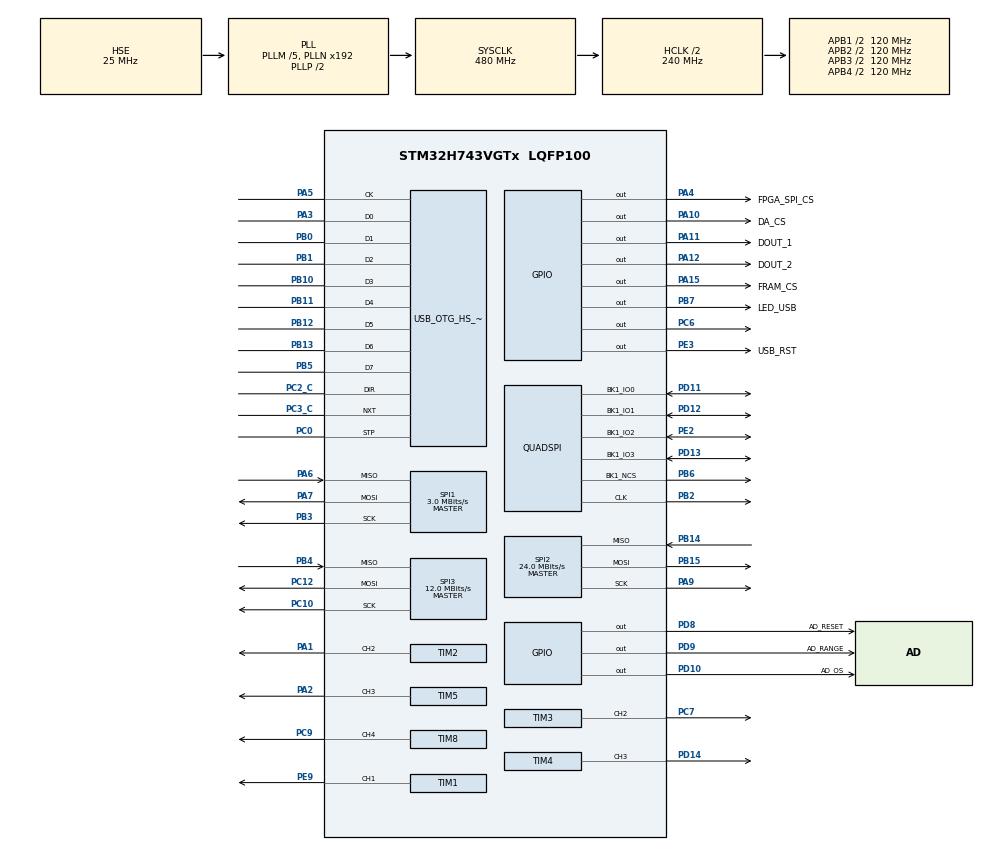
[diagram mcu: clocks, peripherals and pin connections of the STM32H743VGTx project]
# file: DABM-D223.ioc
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CORTEX_M7.default_mode_Activation=0
Mcu.Family=STM32H7
Mcu.Name=STM32H743VGTx
Mcu.Package=LQFP100
Mdma.MDMA_Channel0.QUADSPI_FIFO_TH.0.BlockCount=0
Mdma.MDMA_Channel0.QUADSPI_FIFO_TH.0.BlockDataLength=0
Mdma.MDMA_Channel0.QUADSPI_FIFO_TH.0.BufferTransferLength=4
Mdma.MDMA_Channel0.QUADSPI_FIFO_TH.0.CircularMode=MDMA_LINEAR_LIST
Mdma.MDMA_Channel0.QUADSPI_FIFO_TH.0.DataAlignment=MDMA_DATAALIGN_PACKENABLE
Mdma.MDMA_Channel0.QUADSPI_FIFO_TH.0.DestBlockAddressOffset=0
Mdma.MDMA_Channel0.QUADSPI_FIFO_TH.0.DestBurst=MDMA_DEST_BURST_SINGLE
Mdma.MDMA_Channel0.QUADSPI_FIFO_TH.0.DestDataSize=MDMA_DEST_DATASIZE_BYTE
Mdma.MDMA_Channel0.QUADSPI_FIFO_TH.0.DestinationInc=MDMA_DEST_INC_DISABLE
Mdma.MDMA_Channel0.QUADSPI_FIFO_TH.0.DstAddress=0
Mdma.MDMA_Channel0.QUADSPI_FIFO_TH.0.Endianness=MDMA_LITTLE_ENDIANNESS_PRESERVE
Mdma.MDMA_Channel0.QUADSPI_FIFO_TH.0.Instance=MDMA_Channel0
Mdma.MDMA_Channel0.QUADSPI_FIFO_TH.0.MaskAddress=0
Mdma.MDMA_Channel0.QUADSPI_FIFO_TH.0.MaskData=0
Mdma.MDMA_Channel0.QUADSPI_FIFO_TH.0.Priority=MDMA_PRIORITY_VERY_HIGH
Mdma.MDMA_Channel0.QUADSPI_FIFO_TH.0.Rank=First
Mdma.MDMA_Channel0.QUADSPI_FIFO_TH.0.SourceBlockAddressOffset=0
Mdma.MDMA_Channel0.QUADSPI_FIFO_TH.0.SourceBurst=MDMA_SOURCE_BURST_SINGLE
Mdma.MDMA_Channel0.QUADSPI_FIFO_TH.0.SourceDataSize=MDMA_SRC_DATASIZE_BYTE
Mdma.MDMA_Channel0.QUADSPI_FIFO_TH.0.SourceInc=MDMA_SRC_INC_DISABLE
Mdma.MDMA_Channel0.QUADSPI_FIFO_TH.0.SrcAddress=0
Mdma.MDMA_Channel0.QUADSPI_FIFO_TH.0.TransferTriggerMode=MDMA_BUFFER_TRANSFER
Mdma.MDMA_Channel0.Request0=QUADSPI_FIFO_TH
Mdma.MDMA_Channel0.RequestsNb=1
Mdma.RequestSet0=MDMA_Channel0
Mdma.RequestSetsNb=1
NVIC.MDMA_IRQn=true\:0\:0\:false\:false\:true\:false\:true\:true
NVIC.OTG_HS_IRQn=true\:1\:0\:true\:false\:true\:false\:true\:true
NVIC.PriorityGroup=NVIC_PRIORITYGROUP_4
NVIC.QUADSPI_IRQn=true\:0\:0\:false\:false\:true\:true\:true\:true
NVIC.TIM1_BRK_IRQn=true\:1\:0\:true\:false\:true\:true\:true\:true
NVIC.TIM1_CC_IRQn=true\:1\:0\:true\:false\:true\:true\:true\:true
NVIC.TIM1_TRG_COM_IRQn=true\:1\:0\:true\:false\:true\:true\:true\:true
NVIC.TIM1_UP_IRQn=true\:1\:0\:true\:false\:true\:true\:true\:true
NVIC.TIM2_IRQn=true\:1\:0\:true\:false\:true\:true\:true\:true
NVIC.TIM3_IRQn=true\:1\:0\:true\:false\:true\:true\:true\:true
NVIC.TIM4_IRQn=true\:1\:0\:true\:false\:true\:true\:true\:true
NVIC.TIM5_IRQn=true\:0\:0\:false\:false\:true\:true\:true\:true
NVIC.TIM8_BRK_TIM12_IRQn=true\:1\:0\:true\:false\:true\:true\:true\:true
NVIC.TIM8_CC_IRQn=true\:1\:0\:true\:false\:true\:true\:true\:true
NVIC.TIM8_TRG_COM_TIM14_IRQn=true\:1\:0\:true\:false\:true\:true\:true\:true
NVIC.TIM8_UP_TIM13_IRQn=true\:1\:0\:true\:false\:true\:true\:true\:true
PA1.GPIO_Speed=GPIO_SPEED_FREQ_VERY_HIGH
PA1.Signal=S_TIM2_CH2
PA10.GPIO_Label=DA_CS
PA10.GPIO_Speed=GPIO_SPEED_FREQ_VERY_HIGH
PA10.Signal=GPIO_Output
PA11.GPIO_Label=DOUT_1
PA11.Signal=GPIO_Output
PA12.GPIO_Label=DOUT_2
PA12.Signal=GPIO_Output
PA13\ (JTMS/SWDIO).Mode=Serial_Wire
PA13\ (JTMS/SWDIO).Signal=DEBUG_JTMS-SWDIO
PA14\ (JTCK/SWCLK).Mode=Serial_Wire
PA14\ (JTCK/SWCLK).Signal=DEBUG_JTCK-SWCLK
PA15\ (JTDI).GPIO_Label=FRAM_CS
PA15\ (JTDI).GPIO_Speed=GPIO_SPEED_FREQ_VERY_HIGH
PA15\ (JTDI).Signal=GPIO_Output
PA2.GPIO_Speed=GPIO_SPEED_FREQ_VERY_HIGH
PA2.Signal=S_TIM5_CH3
PA3.Mode=Device_HS
PA3.Signal=USB_OTG_HS_ULPI_D0
PA4.GPIO_Label=FPGA_SPI_CS
PA4.GPIO_Speed=GPIO_SPEED_FREQ_VERY_HIGH
PA4.Signal=GPIO_Output
PA5.Mode=Device_HS
PA5.Signal=USB_OTG_HS_ULPI_CK
PA6.Mode=Full_Duplex_Master
PA6.Signal=SPI1_MISO
PA7.Mode=Full_Duplex_Master
PA7.Signal=SPI1_MOSI
PA9.Mode=Full_Duplex_Master
PA9.Signal=SPI2_SCK
PB0.Mode=Device_HS
PB0.Signal=USB_OTG_HS_ULPI_D1
PB1.Mode=Device_HS
PB1.Signal=USB_OTG_HS_ULPI_D2
PB10.Mode=Device_HS
PB10.Signal=USB_OTG_HS_ULPI_D3
PB11.Mode=Device_HS
PB11.Signal=USB_OTG_HS_ULPI_D4
PB12.Mode=Device_HS
PB12.Signal=USB_OTG_HS_ULPI_D5
PB13.Mode=Device_HS
PB13.Signal=USB_OTG_HS_ULPI_D6
PB14.Mode=Full_Duplex_Master
PB14.Signal=SPI2_MISO
PB15.Mode=Full_Duplex_Master
PB15.Signal=SPI2_MOSI
PB2.GPIO_Speed=GPIO_SPEED_FREQ_HIGH
PB2.Mode=Single Bank 1
PB2.Signal=QUADSPI_CLK
PB3\ (JTDO/TRACESWO).Mode=Full_Duplex_Master
PB3\ (JTDO/TRACESWO).Signal=SPI1_SCK
PB4\ (NJTRST).Mode=Full_Duplex_Master
PB4\ (NJTRST).Signal=SPI3_MISO
PB5.Mode=Device_HS
PB5.Signal=USB_OTG_HS_ULPI_D7
PB6.GPIO_Speed=GPIO_SPEED_FREQ_HIGH
PB6.Mode=Single Bank 1
PB6.Signal=QUADSPI_BK1_NCS
PB7.GPIO_Label=LED_USB
PB7.Signal=GPIO_Output
PC0.Mode=Device_HS
PC0.Signal=USB_OTG_HS_ULPI_STP
PC10.Mode=Full_Duplex_Master
PC10.Signal=SPI3_SCK
PC12.Mode=Full_Duplex_Master
PC12.Signal=SPI3_MOSI
PC2_C.Mode=Device_HS
PC2_C.Signal=USB_OTG_HS_ULPI_DIR
PC3_C.Mode=Device_HS
PC3_C.Signal=USB_OTG_HS_ULPI_NXT
PC6.GPIO_Speed=GPIO_SPEED_FREQ_VERY_HIGH
PC6.Signal=GPIO_Output
PC7.GPIO_Speed=GPIO_SPEED_FREQ_VERY_HIGH
PC7.Signal=S_TIM3_CH2
PC9.GPIO_Speed=GPIO_SPEED_FREQ_VERY_HIGH
PC9.Signal=S_TIM8_CH4
PD10.GPIO_Label=AD_OS
PD10.Signal=GPIO_Output
PD11.GPIO_Speed=GPIO_SPEED_FREQ_HIGH
PD11.Mode=Single Bank 1
PD11.Signal=QUADSPI_BK1_IO0
PD12.GPIO_Speed=GPIO_SPEED_FREQ_HIGH
PD12.Mode=Single Bank 1
PD12.Signal=QUADSPI_BK1_IO1
PD13.GPIO_Speed=GPIO_SPEED_FREQ_HIGH
PD13.Mode=Single Bank 1
PD13.Signal=QUADSPI_BK1_IO3
PD14.GPIO_Speed=GPIO_SPEED_FREQ_VERY_HIGH
PD14.Signal=S_TIM4_CH3
PD8.GPIO_Label=AD_RESET
PD8.Signal=GPIO_Output
PD9.GPIO_Label=AD_RANGE
PD9.Signal=GPIO_Output
PE2.GPIO_Speed=GPIO_SPEED_FREQ_HIGH
PE2.Mode=Single Bank 1
PE2.Signal=QUADSPI_BK1_IO2
PE3.GPIO_Label=USB_RST
PE3.Signal=GPIO_Output
PE9.GPIO_Speed=GPIO_SPEED_FREQ_VERY_HIGH
PE9.Signal=S_TIM1_CH1
PH0-OSC_IN\ (PH0).Mode=HSE-External-Oscillator
PH0-OSC_IN\ (PH0).Signal=RCC_OSC_IN
PH1-OSC_OUT\ (PH1).Mode=HSE-External-Oscillator
PH1-OSC_OUT\ (PH1).Signal=RCC_OSC_OUT
ProjectManager.HeapSize=0x400
ProjectManager.StackSize=0x400
ProjectManager.TargetToolchain=MDK-ARM V5.32
QUADSPI.ChipSelectHighTime=QSPI_CS_HIGH_TIME_8_CYCLE
QUADSPI.ClockMode=QSPI_CLOCK_MODE_0
QUADSPI.ClockPrescaler=40
QUADSPI.FifoThreshold=1
QUADSPI.FlashSize=31
QUADSPI.SampleShifting=QSPI_SAMPLE_SHIFTING_NONE
RCC.ADCFreq_Value=50000000
RCC.APB1Freq_Value=120000000
RCC.APB2Freq_Value=120000000
RCC.APB3Freq_Value=120000000
RCC.APB4Freq_Value=120000000
RCC.CKPERSourceSelection=RCC_CLKPSOURCE_HSE
RCC.CortexFreq_Value=480000000
RCC.D1PPRE=RCC_APB3_DIV2
RCC.D2PPRE1=RCC_APB1_DIV2
RCC.D2PPRE2=RCC_APB2_DIV2
RCC.D3PPRE=RCC_APB4_DIV2
RCC.DIVM1=5
RCC.DIVM2=25
RCC.DIVM3=25
RCC.DIVN1=192
RCC.DIVN2=100
RCC.DIVN3=100
RCC.DIVQ1=20
RCC.HCLKFreq_Value=240000000
RCC.HPRE=RCC_HCLK_DIV2
RCC.PLL2FRACN=0
RCC.PLL3FRACN=0
RCC.PLLFRACN=0
RCC.PLLSourceVirtual=RCC_PLLSOURCE_HSE
RCC.SYSCLKFreq_VALUE=480000000
RCC.SYSCLKSource=RCC_SYSCLKSOURCE_PLLCLK
RCC.USBFreq_Value=48000000
SH.S_TIM1_CH1.0=TIM1_CH1,PWM Generation1 CH1
SH.S_TIM2_CH2.0=TIM2_CH2,PWM Generation2 CH2
SH.S_TIM3_CH2.0=TIM3_CH2,PWM Generation2 CH2
SH.S_TIM4_CH3.0=TIM4_CH3,PWM Generation3 CH3
SH.S_TIM5_CH3.0=TIM5_CH3,PWM Generation3 CH3
SH.S_TIM8_CH4.0=TIM8_CH4,PWM Generation4 CH4
SPI1.BaudRatePrescaler=SPI_BAUDRATEPRESCALER_16
SPI1.CalculateBaudRate=3.0 MBits/s
SPI1.DataSize=SPI_DATASIZE_8BIT
SPI1.Direction=SPI_DIRECTION_2LINES
SPI1.MasterKeepIOState=SPI_MASTER_KEEP_IO_STATE_ENABLE
SPI1.Mode=SPI_MODE_MASTER
SPI1.NSSPMode=SPI_NSS_PULSE_ENABLE
SPI1.VirtualType=VM_MASTER
SPI2.CLKPolarity=SPI_POLARITY_HIGH
SPI2.CalculateBaudRate=24.0 MBits/s
SPI2.DataSize=SPI_DATASIZE_8BIT
SPI2.Direction=SPI_DIRECTION_2LINES
SPI2.MasterKeepIOState=SPI_MASTER_KEEP_IO_STATE_ENABLE
SPI2.Mode=SPI_MODE_MASTER
SPI2.VirtualType=VM_MASTER
SPI3.BaudRatePrescaler=SPI_BAUDRATEPRESCALER_4
SPI3.CalculateBaudRate=12.0 MBits/s
SPI3.DataSize=SPI_DATASIZE_8BIT
SPI3.Direction=SPI_DIRECTION_2LINES
SPI3.MasterKeepIOState=SPI_MASTER_KEEP_IO_STATE_ENABLE
SPI3.Mode=SPI_MODE_MASTER
SPI3.VirtualType=VM_MASTER
TIM1.Channel-PWM\ Generation1\ CH1=TIM_CHANNEL_1
TIM1.Prescaler=239
TIM1.Pulse-PWM\ Generation1\ CH1=1000
TIM12.Channel-PWM\ Generation1\ No\ Output=TIM_CHANNEL_1
TIM12.Period=999
TIM12.Prescaler=239
TIM13.Period=999
TIM13.Prescaler=239
TIM14.Period=99
TIM14.Prescaler=239
TIM2.Channel-PWM\ Generation2\ CH2=TIM_CHANNEL_2
TIM2.Period=65535
TIM2.Prescaler=239
TIM2.Pulse-PWM\ Generation2\ CH2=1000
TIM3.Channel-PWM\ Generation2\ CH2=TIM_CHANNEL_2
TIM3.Prescaler=239
TIM3.Pulse-PWM\ Generation2\ CH2=1000
TIM4.Channel-PWM\ Generation3\ CH3=TIM_CHANNEL_3
TIM4.Prescaler=239
TIM4.Pulse-PWM\ Generation3\ CH3=1000
TIM5.Channel-PWM\ Generation3\ CH3=TIM_CHANNEL_3
TIM5.Period=65535
TIM5.Prescaler=239
TIM5.Pulse-PWM\ Generation3\ CH3=1000
TIM8.Channel-PWM\ Generation4\ CH4=TIM_CHANNEL_4
TIM8.Prescaler=239
TIM8.Pulse-PWM\ Generation4\ CH4=1000
USB_DEVICE.CLASS_NAME_HS=CDC
USB_DEVICE.USBD_MAX_NUM_CONFIGURATION-CDC_HS=2
USB_DEVICE.USBD_MAX_NUM_INTERFACES-CDC_HS=2
USB_DEVICE.VirtualMode-CDC_HS=Cdc
USB_DEVICE.VirtualModeHS=Cdc_HS
USB_OTG_HS.VirtualMode-Device_HS=Device_HS
VP_MEMORYMAP_VS_MEMORYMAP.Mode=CurAppReg
VP_TIM12_VS_no_output1.Mode=PWM Generation1 No Output
VP_TIM13_VS_ClockSourceINT.Mode=Enable_Timer
VP_TIM14_VS_ClockSourceINT.Mode=Enable_Timer
VP_USB_DEVICE_VS_USB_DEVICE_CDC_HS.Mode=CDC_HS
board=custom

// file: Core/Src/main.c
/* USER CODE BEGIN Header */
/**
 ******************************************************************************
 * @file           : main.c
 * @brief          : Main program body
 ******************************************************************************
 * @attention
 *
 * Copyright (c) 2026 STMicroelectronics.
 * All rights reserved.
 *
 * This software is licensed under terms that can be found in the LICENSE file
 * in the root directory of this software component.
 * If no LICENSE file comes with this software, it is provided AS-IS.
 *
 ******************************************************************************
 */
/* USER CODE END Header */
#include "main.h"
#include "usb_device.h"

QSPI_HandleTypeDef hqspi;
MDMA_HandleTypeDef hmdma_quadspi_fifo_th;

SPI_HandleTypeDef hspi1;
SPI_HandleTypeDef hspi2;
SPI_HandleTypeDef hspi3;

TIM_HandleTypeDef htim1;
TIM_HandleTypeDef htim2;
TIM_HandleTypeDef htim3;
TIM_HandleTypeDef htim4;
TIM_HandleTypeDef htim5;
TIM_HandleTypeDef htim8;
TIM_HandleTypeDef htim12;
TIM_HandleTypeDef htim13;
TIM_HandleTypeDef htim14;

void SystemClock_Config(void);
static void MX_GPIO_Init(void);
static void MX_MDMA_Init(void);
static void MX_QUADSPI_Init(void);
static void MX_SPI1_Init(void);
static void MX_SPI3_Init(void);
static void MX_TIM12_Init(void);
static void MX_TIM13_Init(void);
static void MX_SPI2_Init(void);
static void MX_TIM14_Init(void);
static void MX_TIM1_Init(void);
static void MX_TIM2_Init(void);
static void MX_TIM3_Init(void);
static void MX_TIM4_Init(void);
static void MX_TIM5_Init(void);
static void MX_TIM8_Init(void);

/* USER CODE BEGIN 0 */

// 假设我们已经有了这个函数来获取 Flash 的状态寄存器，以判断写入是否完成
// uint8_t QSPI_ReadStatusRegister(QSPI_HandleTypeDef *hqspi);
char init_success = 0;

// 定时器中断处理函数，集中处理
void HAL_TIM_PeriodElapsedCallback(TIM_HandleTypeDef *htim)
{
  if (!init_success)
  {
    return;
  }

  if (htim == &htim1)
  {
    TIM1_task();
  }
  else if (htim == &htim2)
  {
    TIM2_task();
  }
  else if (htim == &htim3)
  {
    TIM3_task();
  }
  else if (htim == &htim4)
  {
    TIM4_task();
  }
  else if (htim == &htim5)
  {
    TIM5_task();
  }
  else if (htim == &htim8)
  {
    TIM8_task();
  }
  else if (htim == &htim12)
  {
    usbMsg_timer_task();
    dio_tim_task();
    adcFunction_tim_task();
  }
  else if (htim == &htim13)
  {
    // ADC 处理部分
    HAL_GPIO_WritePin(GPIOC, GPIO_PIN_6, 1);
    qspiAdcTimTask();
    HAL_GPIO_WritePin(GPIOC, GPIO_PIN_6, 0);
  }
  else if (htim == &htim14)
  {
    // DAC 处理部分
    ddsDac_tim_task();
  }
}
/* USER CODE END 0 */

int main(void)
{

  /* USER CODE BEGIN 1 */
  rt_thread_delay(100);
  /* USER CODE END 1 */

  /* MCU Configuration--------------------------------------------------------*/

  /* Reset of all peripherals, Initializes the Flash interface and the Systick. */
  HAL_Init();

  /* Configure the system clock */
  SystemClock_Config();

  /* Initialize all configured peripherals */
  MX_GPIO_Init();
  MX_MDMA_Init();
  MX_QUADSPI_Init();
  MX_USB_DEVICE_Init();
  MX_SPI1_Init();
  MX_SPI3_Init();
  MX_TIM12_Init();
  MX_TIM13_Init();
  MX_SPI2_Init();
  MX_TIM14_Init();
  MX_TIM1_Init();
  MX_TIM2_Init();
  MX_TIM3_Init();
  MX_TIM4_Init();
  MX_TIM5_Init();
  MX_TIM8_Init();
  /* USER CODE BEGIN 2 */
  HAL_GPIO_WritePin(AD_RESET_GPIO_Port, AD_RESET_Pin, 1);
  HAL_GPIO_WritePin(FRAM_CS_GPIO_Port, FRAM_CS_Pin, 1);
  HAL_GPIO_WritePin(AD_OS_GPIO_Port, AD_OS_Pin, 0);
  HAL_GPIO_WritePin(USB_RST_GPIO_Port, USB_RST_Pin, 1);
  HAL_GPIO_WritePin(FPGA_SPI_CS_GPIO_Port, FPGA_SPI_CS_Pin, 1);

  rt_thread_delay(100);
  HAL_GPIO_WritePin(USB_RST_GPIO_Port, USB_RST_Pin, 0);
  HAL_GPIO_WritePin(AD_RESET_GPIO_Port, AD_RESET_Pin, 0);
  nvm_data_init();

  rt_thread_delay(200);
  _regA2FMap.REG_A2F_SRAM_WORK_MODE = 0x5a;
  rtos_spi_write();
  rt_thread_delay(200);

  // 配置 FPGA 进入 FIFO 实时读取模式: STM32 连续读取 8 路 ADC
  // 采样周期 = 75MHz / 100kHz - 1 = 749, 拆成 24 位寄存器的低/中/高字节
  _regA2FMap.REG_A2F_FPGA_ADC_SAMPLE_CYCLE_MAX3 = (u8)((75000000 / 100000 - 1) >> 16);
  _regA2FMap.REG_A2F_FPGA_ADC_SAMPLE_CYCLE_MAX2 = (u8)((75000000 / 100000 - 1) >> 8);
  _regA2FMap.REG_A2F_FPGA_ADC_SAMPLE_CYCLE_MAX1 = (u8)((75000000 / 100000 - 1) >> 0);
  _regA2FMap.REG_A2F_FPGA_ADC_CH_ENABLE = 0xff;
  _regA2FMap.REG_A2F_FPGA_ADC_CH_ENABLE_TOTAL = 16;
  _regA2FMap.REG_A2F_FPGA_ADC_DIFF_ENABLE = 0;
  _regA2FMap.REG_A2F_SRAM_WORK_MODE = 3; // MODE_STM32_READ_FIFO
  rtos_spi_write();
  rt_thread_delay(50);

  HAL_TIM_Base_Start_IT(&htim1);
  HAL_TIM_PWM_Start(&htim1, TIM_CHANNEL_1);

  HAL_TIM_Base_Start_IT(&htim2);
  HAL_TIM_PWM_Start(&htim2, TIM_CHANNEL_2);

  HAL_TIM_Base_Start_IT(&htim3);
  HAL_TIM_PWM_Start(&htim3, TIM_CHANNEL_2);

  HAL_TIM_Base_Start_IT(&htim4);
  HAL_TIM_PWM_Start(&htim4, TIM_CHANNEL_3);

  HAL_TIM_Base_Start_IT(&htim5);
  HAL_TIM_PWM_Start(&htim5, TIM_CHANNEL_3);

  HAL_TIM_Base_Start_IT(&htim8);
  HAL_TIM_PWM_Start(&htim8, TIM_CHANNEL_4);

  HAL_TIM_Base_Start_IT(&htim12); // 系统 时基
  HAL_TIM_Base_Start_IT(&htim13); // ADC 时基
  HAL_TIM_Base_Start_IT(&htim14); // DAC 时基

  rt_msgProcess_init();
  rt_adcFunc_init();
  rt_thread_delay(100);

  init_success = 1;

  /* USER CODE END 2 */

  /* Infinite loop */
  /* USER CODE BEGIN WHILE */
  while (1)
  {
    adc_dac_paramCalcThread();
    // fpga_read_register();
    rt_thread_delay(10);
    /* USER CODE END WHILE */

  }
}

void SystemClock_Config(void)
{
  RCC_OscInitTypeDef RCC_OscInitStruct = {0};
  RCC_ClkInitTypeDef RCC_ClkInitStruct = {0};

  /** Supply configuration update enable
   */
  HAL_PWREx_ConfigSupply(PWR_LDO_SUPPLY);

  /** Configure the main internal regulator output voltage
   */
  __HAL_PWR_VOLTAGESCALING_CONFIG(PWR_REGULATOR_VOLTAGE_SCALE0);

  while (!__HAL_PWR_GET_FLAG(PWR_FLAG_VOSRDY))
  {
  }

  /** Initializes the RCC Oscillators according to the specified parameters
   * in the RCC_OscInitTypeDef structure.
   */
  RCC_OscInitStruct.OscillatorType = RCC_OSCILLATORTYPE_HSE;
  RCC_OscInitStruct.HSEState = RCC_HSE_ON;
  RCC_OscInitStruct.PLL.PLLState = RCC_PLL_ON;
  RCC_OscInitStruct.PLL.PLLSource = RCC_PLLSOURCE_HSE;
  RCC_OscInitStruct.PLL.PLLM = 5;
  RCC_OscInitStruct.PLL.PLLN = 192;
  RCC_OscInitStruct.PLL.PLLP = 2;
  RCC_OscInitStruct.PLL.PLLQ = 20;
  RCC_OscInitStruct.PLL.PLLR = 2;
  RCC_OscInitStruct.PLL.PLLRGE = RCC_PLL1VCIRANGE_2;
  RCC_OscInitStruct.PLL.PLLVCOSEL = RCC_PLL1VCOWIDE;
  RCC_OscInitStruct.PLL.PLLFRACN = 0;
  if (HAL_RCC_OscConfig(&RCC_OscInitStruct) != HAL_OK)
  {
    Error_Handler();
  }

  /** Initializes the CPU, AHB and APB buses clocks
   */
  RCC_ClkInitStruct.ClockType = RCC_CLOCKTYPE_HCLK | RCC_CLOCKTYPE_SYSCLK | RCC_CLOCKTYPE_PCLK1 | RCC_CLOCKTYPE_PCLK2 | RCC_CLOCKTYPE_D3PCLK1 | RCC_CLOCKTYPE_D1PCLK1;
  RCC_ClkInitStruct.SYSCLKSource = RCC_SYSCLKSOURCE_PLLCLK;
  RCC_ClkInitStruct.SYSCLKDivider = RCC_SYSCLK_DIV1;
  RCC_ClkInitStruct.AHBCLKDivider = RCC_HCLK_DIV2;
  RCC_ClkInitStruct.APB3CLKDivider = RCC_APB3_DIV2;
  RCC_ClkInitStruct.APB1CLKDivider = RCC_APB1_DIV2;
  RCC_ClkInitStruct.APB2CLKDivider = RCC_APB2_DIV2;
  RCC_ClkInitStruct.APB4CLKDivider = RCC_APB4_DIV2;

  if (HAL_RCC_ClockConfig(&RCC_ClkInitStruct, FLASH_LATENCY_4) != HAL_OK)
  {
    Error_Handler();
  }
}

static void MX_QUADSPI_Init(void)
{

  /* QUADSPI parameter configuration*/
  hqspi.Instance = QUADSPI;
  hqspi.Init.ClockPrescaler = 40;
  hqspi.Init.FifoThreshold = 1;
  hqspi.Init.SampleShifting = QSPI_SAMPLE_SHIFTING_NONE;
  hqspi.Init.FlashSize = 31;
  hqspi.Init.ChipSelectHighTime = QSPI_CS_HIGH_TIME_8_CYCLE;
  hqspi.Init.ClockMode = QSPI_CLOCK_MODE_0;
  hqspi.Init.FlashID = QSPI_FLASH_ID_1;
  hqspi.Init.DualFlash = QSPI_DUALFLASH_DISABLE;
  if (HAL_QSPI_Init(&hqspi) != HAL_OK)
  {
    Error_Handler();
  }
}

static void MX_SPI1_Init(void)
{

  /* SPI1 parameter configuration*/
  hspi1.Instance = SPI1;
  hspi1.Init.Mode = SPI_MODE_MASTER;
  hspi1.Init.Direction = SPI_DIRECTION_2LINES;
  hspi1.Init.DataSize = SPI_DATASIZE_8BIT;
  hspi1.Init.CLKPolarity = SPI_POLARITY_LOW;
  hspi1.Init.CLKPhase = SPI_PHASE_1EDGE;
  hspi1.Init.NSS = SPI_NSS_SOFT;
  hspi1.Init.BaudRatePrescaler = SPI_BAUDRATEPRESCALER_16;
  hspi1.Init.FirstBit = SPI_FIRSTBIT_MSB;
  hspi1.Init.TIMode = SPI_TIMODE_DISABLE;
  hspi1.Init.CRCCalculation = SPI_CRCCALCULATION_DISABLE;
  hspi1.Init.CRCPolynomial = 0x0;
  hspi1.Init.NSSPMode = SPI_NSS_PULSE_ENABLE;
  hspi1.Init.NSSPolarity = SPI_NSS_POLARITY_LOW;
  hspi1.Init.FifoThreshold = SPI_FIFO_THRESHOLD_01DATA;
  hspi1.Init.TxCRCInitializationPattern = SPI_CRC_INITIALIZATION_ALL_ZERO_PATTERN;
  hspi1.Init.RxCRCInitializationPattern = SPI_CRC_INITIALIZATION_ALL_ZERO_PATTERN;
  hspi1.Init.MasterSSIdleness = SPI_MASTER_SS_IDLENESS_00CYCLE;
  hspi1.Init.MasterInterDataIdleness = SPI_MASTER_INTERDATA_IDLENESS_00CYCLE;
  hspi1.Init.MasterReceiverAutoSusp = SPI_MASTER_RX_AUTOSUSP_DISABLE;
  hspi1.Init.MasterKeepIOState = SPI_MASTER_KEEP_IO_STATE_ENABLE;
  hspi1.Init.IOSwap = SPI_IO_SWAP_DISABLE;
  if (HAL_SPI_Init(&hspi1) != HAL_OK)
  {
    Error_Handler();
  }
}

static void MX_SPI2_Init(void)
{

  /* SPI2 parameter configuration*/
  hspi2.Instance = SPI2;
  hspi2.Init.Mode = SPI_MODE_MASTER;
  hspi2.Init.Direction = SPI_DIRECTION_2LINES;
  hspi2.Init.DataSize = SPI_DATASIZE_8BIT;
  hspi2.Init.CLKPolarity = SPI_POLARITY_HIGH;
  hspi2.Init.CLKPhase = SPI_PHASE_1EDGE;
  hspi2.Init.NSS = SPI_NSS_SOFT;
  hspi2.Init.BaudRatePrescaler = SPI_BAUDRATEPRESCALER_2;
  hspi2.Init.FirstBit = SPI_FIRSTBIT_MSB;
  hspi2.Init.TIMode = SPI_TIMODE_DISABLE;
  hspi2.Init.CRCCalculation = SPI_CRCCALCULATION_DISABLE;
  hspi2.Init.CRCPolynomial = 0x0;
  hspi2.Init.NSSPMode = SPI_NSS_PULSE_ENABLE;
  hspi2.Init.NSSPolarity = SPI_NSS_POLARITY_LOW;
  hspi2.Init.FifoThreshold = SPI_FIFO_THRESHOLD_01DATA;
  hspi2.Init.TxCRCInitializationPattern = SPI_CRC_INITIALIZATION_ALL_ZERO_PATTERN;
  hspi2.Init.RxCRCInitializationPattern = SPI_CRC_INITIALIZATION_ALL_ZERO_PATTERN;
  hspi2.Init.MasterSSIdleness = SPI_MASTER_SS_IDLENESS_00CYCLE;
  hspi2.Init.MasterInterDataIdleness = SPI_MASTER_INTERDATA_IDLENESS_00CYCLE;
  hspi2.Init.MasterReceiverAutoSusp = SPI_MASTER_RX_AUTOSUSP_DISABLE;
  hspi2.Init.MasterKeepIOState = SPI_MASTER_KEEP_IO_STATE_ENABLE;
  hspi2.Init.IOSwap = SPI_IO_SWAP_DISABLE;
  if (HAL_SPI_Init(&hspi2) != HAL_OK)
  {
    Error_Handler();
  }
}

static void MX_SPI3_Init(void)
{

  /* SPI3 parameter configuration*/
  hspi3.Instance = SPI3;
  hspi3.Init.Mode = SPI_MODE_MASTER;
  hspi3.Init.Direction = SPI_DIRECTION_2LINES;
  hspi3.Init.DataSize = SPI_DATASIZE_8BIT;
  hspi3.Init.CLKPolarity = SPI_POLARITY_LOW;
  hspi3.Init.CLKPhase = SPI_PHASE_1EDGE;
  hspi3.Init.NSS = SPI_NSS_SOFT;
  hspi3.Init.BaudRatePrescaler = SPI_BAUDRATEPRESCALER_4;
  hspi3.Init.FirstBit = SPI_FIRSTBIT_MSB;
  hspi3.Init.TIMode = SPI_TIMODE_DISABLE;
  hspi3.Init.CRCCalculation = SPI_CRCCALCULATION_DISABLE;
  hspi3.Init.CRCPolynomial = 0x0;
  hspi3.Init.NSSPMode = SPI_NSS_PULSE_ENABLE;
  hspi3.Init.NSSPolarity = SPI_NSS_POLARITY_LOW;
  hspi3.Init.FifoThreshold = SPI_FIFO_THRESHOLD_01DATA;
  hspi3.Init.TxCRCInitializationPattern = SPI_CRC_INITIALIZATION_ALL_ZERO_PATTERN;
  hspi3.Init.RxCRCInitializationPattern = SPI_CRC_INITIALIZATION_ALL_ZERO_PATTERN;
  hspi3.Init.MasterSSIdleness = SPI_MASTER_SS_IDLENESS_00CYCLE;
  hspi3.Init.MasterInterDataIdleness = SPI_MASTER_INTERDATA_IDLENESS_00CYCLE;
  hspi3.Init.MasterReceiverAutoSusp = SPI_MASTER_RX_AUTOSUSP_DISABLE;
  hspi3.Init.MasterKeepIOState = SPI_MASTER_KEEP_IO_STATE_ENABLE;
  hspi3.Init.IOSwap = SPI_IO_SWAP_DISABLE;
  if (HAL_SPI_Init(&hspi3) != HAL_OK)
  {
    Error_Handler();
  }
}

static void MX_TIM1_Init(void)
{

  TIM_MasterConfigTypeDef sMasterConfig = {0};
  TIM_OC_InitTypeDef sConfigOC = {0};
  TIM_BreakDeadTimeConfigTypeDef sBreakDeadTimeConfig = {0};

  htim1.Instance = TIM1;
  htim1.Init.Prescaler = 239;
  htim1.Init.CounterMode = TIM_COUNTERMODE_UP;
  htim1.Init.Period = 65535;
  htim1.Init.ClockDivision = TIM_CLOCKDIVISION_DIV1;
  htim1.Init.RepetitionCounter = 0;
  htim1.Init.AutoReloadPreload = TIM_AUTORELOAD_PRELOAD_DISABLE;
  if (HAL_TIM_PWM_Init(&htim1) != HAL_OK)
  {
    Error_Handler();
  }
  sMasterConfig.MasterOutputTrigger = TIM_TRGO_RESET;
  sMasterConfig.MasterOutputTrigger2 = TIM_TRGO2_RESET;
  sMasterConfig.MasterSlaveMode = TIM_MASTERSLAVEMODE_DISABLE;
  if (HAL_TIMEx_MasterConfigSynchronization(&htim1, &sMasterConfig) != HAL_OK)
  {
    Error_Handler();
  }
  sConfigOC.OCMode = TIM_OCMODE_PWM1;
  sConfigOC.Pulse = 1000;
  sConfigOC.OCPolarity = TIM_OCPOLARITY_HIGH;
  sConfigOC.OCNPolarity = TIM_OCNPOLARITY_HIGH;
  sConfigOC.OCFastMode = TIM_OCFAST_DISABLE;
  sConfigOC.OCIdleState = TIM_OCIDLESTATE_RESET;
  sConfigOC.OCNIdleState = TIM_OCNIDLESTATE_RESET;
  if (HAL_TIM_PWM_ConfigChannel(&htim1, &sConfigOC, TIM_CHANNEL_1) != HAL_OK)
  {
    Error_Handler();
  }
  sBreakDeadTimeConfig.OffStateRunMode = TIM_OSSR_DISABLE;
  sBreakDeadTimeConfig.OffStateIDLEMode = TIM_OSSI_DISABLE;
  sBreakDeadTimeConfig.LockLevel = TIM_LOCKLEVEL_OFF;
  sBreakDeadTimeConfig.DeadTime = 0;
  sBreakDeadTimeConfig.BreakState = TIM_BREAK_DISABLE;
  sBreakDeadTimeConfig.BreakPolarity = TIM_BREAKPOLARITY_HIGH;
  sBreakDeadTimeConfig.BreakFilter = 0;
  sBreakDeadTimeConfig.Break2State = TIM_BREAK2_DISABLE;
  sBreakDeadTimeConfig.Break2Polarity = TIM_BREAK2POLARITY_HIGH;
  sBreakDeadTimeConfig.Break2Filter = 0;
  sBreakDeadTimeConfig.AutomaticOutput = TIM_AUTOMATICOUTPUT_DISABLE;
  if (HAL_TIMEx_ConfigBreakDeadTime(&htim1, &sBreakDeadTimeConfig) != HAL_OK)
  {
    Error_Handler();
  }
  HAL_TIM_MspPostInit(&htim1);
}

static void MX_TIM2_Init(void)
{

  TIM_MasterConfigTypeDef sMasterConfig = {0};
  TIM_OC_InitTypeDef sConfigOC = {0};

  htim2.Instance = TIM2;
  htim2.Init.Prescaler = 239;
  htim2.Init.CounterMode = TIM_COUNTERMODE_UP;
  htim2.Init.Period = 65535;
  htim2.Init.ClockDivision = TIM_CLOCKDIVISION_DIV1;
  htim2.Init.AutoReloadPreload = TIM_AUTORELOAD_PRELOAD_DISABLE;
  if (HAL_TIM_PWM_Init(&htim2) != HAL_OK)
  {
    Error_Handler();
  }
  sMasterConfig.MasterOutputTrigger = TIM_TRGO_RESET;
  sMasterConfig.MasterSlaveMode = TIM_MASTERSLAVEMODE_DISABLE;
  if (HAL_TIMEx_MasterConfigSynchronization(&htim2, &sMasterConfig) != HAL_OK)
  {
    Error_Handler();
  }
  sConfigOC.OCMode = TIM_OCMODE_PWM1;
  sConfigOC.Pulse = 1000;
  sConfigOC.OCPolarity = TIM_OCPOLARITY_HIGH;
  sConfigOC.OCFastMode = TIM_OCFAST_DISABLE;
  if (HAL_TIM_PWM_ConfigChannel(&htim2, &sConfigOC, TIM_CHANNEL_2) != HAL_OK)
  {
    Error_Handler();
  }
  HAL_TIM_MspPostInit(&htim2);
}

static void MX_TIM3_Init(void)
{

  TIM_MasterConfigTypeDef sMasterConfig = {0};
  TIM_OC_InitTypeDef sConfigOC = {0};

  htim3.Instance = TIM3;
  htim3.Init.Prescaler = 239;
  htim3.Init.CounterMode = TIM_COUNTERMODE_UP;
  htim3.Init.Period = 65535;
  htim3.Init.ClockDivision = TIM_CLOCKDIVISION_DIV1;
  htim3.Init.AutoReloadPreload = TIM_AUTORELOAD_PRELOAD_DISABLE;
  if (HAL_TIM_PWM_Init(&htim3) != HAL_OK)
  {
    Error_Handler();
  }
  sMasterConfig.MasterOutputTrigger = TIM_TRGO_RESET;
  sMasterConfig.MasterSlaveMode = TIM_MASTERSLAVEMODE_DISABLE;
  if (HAL_TIMEx_MasterConfigSynchronization(&htim3, &sMasterConfig) != HAL_OK)
  {
    Error_Handler();
  }
  sConfigOC.OCMode = TIM_OCMODE_PWM1;
  sConfigOC.Pulse = 1000;
  sConfigOC.OCPolarity = TIM_OCPOLARITY_HIGH;
  sConfigOC.OCFastMode = TIM_OCFAST_DISABLE;
  if (HAL_TIM_PWM_ConfigChannel(&htim3, &sConfigOC, TIM_CHANNEL_2) != HAL_OK)
  {
    Error_Handler();
  }
  HAL_TIM_MspPostInit(&htim3);
}

static void MX_TIM4_Init(void)
{

  TIM_MasterConfigTypeDef sMasterConfig = {0};
  TIM_OC_InitTypeDef sConfigOC = {0};

  htim4.Instance = TIM4;
  htim4.Init.Prescaler = 239;
  htim4.Init.CounterMode = TIM_COUNTERMODE_UP;
  htim4.Init.Period = 65535;
  htim4.Init.ClockDivision = TIM_CLOCKDIVISION_DIV1;
  htim4.Init.AutoReloadPreload = TIM_AUTORELOAD_PRELOAD_DISABLE;
  if (HAL_TIM_PWM_Init(&htim4) != HAL_OK)
  {
    Error_Handler();
  }
  sMasterConfig.MasterOutputTrigger = TIM_TRGO_RESET;
  sMasterConfig.MasterSlaveMode = TIM_MASTERSLAVEMODE_DISABLE;
  if (HAL_TIMEx_MasterConfigSynchronization(&htim4, &sMasterConfig) != HAL_OK)
  {
    Error_Handler();
  }
  sConfigOC.OCMode = TIM_OCMODE_PWM1;
  sConfigOC.Pulse = 1000;
  sConfigOC.OCPolarity = TIM_OCPOLARITY_HIGH;
  sConfigOC.OCFastMode = TIM_OCFAST_DISABLE;
  if (HAL_TIM_PWM_ConfigChannel(&htim4, &sConfigOC, TIM_CHANNEL_3) != HAL_OK)
  {
    Error_Handler();
  }
  HAL_TIM_MspPostInit(&htim4);
}

static void MX_TIM5_Init(void)
{

  TIM_MasterConfigTypeDef sMasterConfig = {0};
  TIM_OC_InitTypeDef sConfigOC = {0};

  htim5.Instance = TIM5;
  htim5.Init.Prescaler = 239;
  htim5.Init.CounterMode = TIM_COUNTERMODE_UP;
  htim5.Init.Period = 65535;
  htim5.Init.ClockDivision = TIM_CLOCKDIVISION_DIV1;
  htim5.Init.AutoReloadPreload = TIM_AUTORELOAD_PRELOAD_DISABLE;
  if (HAL_TIM_PWM_Init(&htim5) != HAL_OK)
  {
    Error_Handler();
  }
  sMasterConfig.MasterOutputTrigger = TIM_TRGO_RESET;
  sMasterConfig.MasterSlaveMode = TIM_MASTERSLAVEMODE_DISABLE;
  if (HAL_TIMEx_MasterConfigSynchronization(&htim5, &sMasterConfig) != HAL_OK)
  {
    Error_Handler();
  }
  sConfigOC.OCMode = TIM_OCMODE_PWM1;
  sConfigOC.Pulse = 1000;
  sConfigOC.OCPolarity = TIM_OCPOLARITY_HIGH;
  sConfigOC.OCFastMode = TIM_OCFAST_DISABLE;
  if (HAL_TIM_PWM_ConfigChannel(&htim5, &sConfigOC, TIM_CHANNEL_3) != HAL_OK)
  {
    Error_Handler();
  }
  HAL_TIM_MspPostInit(&htim5);
}

static void MX_TIM8_Init(void)
{

  TIM_MasterConfigTypeDef sMasterConfig = {0};
  TIM_OC_InitTypeDef sConfigOC = {0};
  TIM_BreakDeadTimeConfigTypeDef sBreakDeadTimeConfig = {0};

  htim8.Instance = TIM8;
  htim8.Init.Prescaler = 239;
  htim8.Init.CounterMode = TIM_COUNTERMODE_UP;
  htim8.Init.Period = 65535;
  htim8.Init.ClockDivision = TIM_CLOCKDIVISION_DIV1;
  htim8.Init.RepetitionCounter = 0;
  htim8.Init.AutoReloadPreload = TIM_AUTORELOAD_PRELOAD_DISABLE;
  if (HAL_TIM_PWM_Init(&htim8) != HAL_OK)
  {
    Error_Handler();
  }
  sMasterConfig.MasterOutputTrigger = TIM_TRGO_RESET;
  sMasterConfig.MasterOutputTrigger2 = TIM_TRGO2_RESET;
  sMasterConfig.MasterSlaveMode = TIM_MASTERSLAVEMODE_DISABLE;
  if (HAL_TIMEx_MasterConfigSynchronization(&htim8, &sMasterConfig) != HAL_OK)
  {
    Error_Handler();
  }
  sConfigOC.OCMode = TIM_OCMODE_PWM1;
  sConfigOC.Pulse = 1000;
  sConfigOC.OCPolarity = TIM_OCPOLARITY_HIGH;
  sConfigOC.OCFastMode = TIM_OCFAST_DISABLE;
  sConfigOC.OCIdleState = TIM_OCIDLESTATE_RESET;
  sConfigOC.OCNIdleState = TIM_OCNIDLESTATE_RESET;
  if (HAL_TIM_PWM_ConfigChannel(&htim8, &sConfigOC, TIM_CHANNEL_4) != HAL_OK)
  {
    Error_Handler();
  }
  sBreakDeadTimeConfig.OffStateRunMode = TIM_OSSR_DISABLE;
  sBreakDeadTimeConfig.OffStateIDLEMode = TIM_OSSI_DISABLE;
  sBreakDeadTimeConfig.LockLevel = TIM_LOCKLEVEL_OFF;
  sBreakDeadTimeConfig.DeadTime = 0;
  sBreakDeadTimeConfig.BreakState = TIM_BREAK_DISABLE;
  sBreakDeadTimeConfig.BreakPolarity = TIM_BREAKPOLARITY_HIGH;
  sBreakDeadTimeConfig.BreakFilter = 0;
  sBreakDeadTimeConfig.Break2State = TIM_BREAK2_DISABLE;
  sBreakDeadTimeConfig.Break2Polarity = TIM_BREAK2POLARITY_HIGH;
  sBreakDeadTimeConfig.Break2Filter = 0;
  sBreakDeadTimeConfig.AutomaticOutput = TIM_AUTOMATICOUTPUT_DISABLE;
  if (HAL_TIMEx_ConfigBreakDeadTime(&htim8, &sBreakDeadTimeConfig) != HAL_OK)
  {
    Error_Handler();
  }
  HAL_TIM_MspPostInit(&htim8);
}

static void MX_TIM12_Init(void)
{

  TIM_MasterConfigTypeDef sMasterConfig = {0};
  TIM_OC_InitTypeDef sConfigOC = {0};

  htim12.Instance = TIM12;
  htim12.Init.Prescaler = 239;
  htim12.Init.CounterMode = TIM_COUNTERMODE_UP;
  htim12.Init.Period = 999;
  htim12.Init.ClockDivision = TIM_CLOCKDIVISION_DIV1;
  htim12.Init.AutoReloadPreload = TIM_AUTORELOAD_PRELOAD_DISABLE;
  if (HAL_TIM_PWM_Init(&htim12) != HAL_OK)
  {
    Error_Handler();
  }
  sMasterConfig.MasterOutputTrigger = TIM_TRGO_RESET;
  sMasterConfig.MasterSlaveMode = TIM_MASTERSLAVEMODE_DISABLE;
  if (HAL_TIMEx_MasterConfigSynchronization(&htim12, &sMasterConfig) != HAL_OK)
  {
    Error_Handler();
  }
  sConfigOC.OCMode = TIM_OCMODE_PWM1;
  sConfigOC.Pulse = 0;
  sConfigOC.OCPolarity = TIM_OCPOLARITY_HIGH;
  sConfigOC.OCFastMode = TIM_OCFAST_DISABLE;
  if (HAL_TIM_PWM_ConfigChannel(&htim12, &sConfigOC, TIM_CHANNEL_1) != HAL_OK)
  {
    Error_Handler();
  }
}

static void MX_TIM13_Init(void)
{

  htim13.Instance = TIM13;
  htim13.Init.Prescaler = 239;
  htim13.Init.CounterMode = TIM_COUNTERMODE_UP;
  htim13.Init.Period = 999;
  htim13.Init.ClockDivision = TIM_CLOCKDIVISION_DIV1;
  htim13.Init.AutoReloadPreload = TIM_AUTORELOAD_PRELOAD_DISABLE;
  if (HAL_TIM_Base_Init(&htim13) != HAL_OK)
  {
    Error_Handler();
  }
}

static void MX_TIM14_Init(void)
{

  htim14.Instance = TIM14;
  htim14.Init.Prescaler = 239;
  htim14.Init.CounterMode = TIM_COUNTERMODE_UP;
  htim14.Init.Period = 99;
  htim14.Init.ClockDivision = TIM_CLOCKDIVISION_DIV1;
  htim14.Init.AutoReloadPreload = TIM_AUTORELOAD_PRELOAD_DISABLE;
  if (HAL_TIM_Base_Init(&htim14) != HAL_OK)
  {
    Error_Handler();
  }
}

/**
 * Enable MDMA controller clock
 */
static void MX_MDMA_Init(void)
{

  /* MDMA controller clock enable */
  __HAL_RCC_MDMA_CLK_ENABLE();
  /* Local variables */

  /* MDMA interrupt initialization */
  /* MDMA_IRQn interrupt configuration */
  HAL_NVIC_SetPriority(MDMA_IRQn, 0, 0);
  HAL_NVIC_EnableIRQ(MDMA_IRQn);
}

static void MX_GPIO_Init(void)
{
  GPIO_InitTypeDef GPIO_InitStruct = {0};

  /* GPIO Ports Clock Enable */
  __HAL_RCC_GPIOE_CLK_ENABLE();
  __HAL_RCC_GPIOH_CLK_ENABLE();
  __HAL_RCC_GPIOC_CLK_ENABLE();
  __HAL_RCC_GPIOA_CLK_ENABLE();
  __HAL_RCC_GPIOB_CLK_ENABLE();
  __HAL_RCC_GPIOD_CLK_ENABLE();

  /*Configure GPIO pin Output Level */
  HAL_GPIO_WritePin(USB_RST_GPIO_Port, USB_RST_Pin, GPIO_PIN_RESET);

  /*Configure GPIO pin Output Level */
  HAL_GPIO_WritePin(GPIOA, FPGA_SPI_CS_Pin | DA_CS_Pin | DOUT_1_Pin | DOUT_2_Pin | FRAM_CS_Pin, GPIO_PIN_RESET);

  /*Configure GPIO pin Output Level */
  HAL_GPIO_WritePin(GPIOD, AD_RESET_Pin | AD_RANGE_Pin | AD_OS_Pin, GPIO_PIN_RESET);

  /*Configure GPIO pin Output Level */
  HAL_GPIO_WritePin(GPIOC, GPIO_PIN_6, GPIO_PIN_RESET);

  /*Configure GPIO pin Output Level */
  HAL_GPIO_WritePin(LED_USB_GPIO_Port, LED_USB_Pin, GPIO_PIN_RESET);

  /*Configure GPIO pin : USB_RST_Pin */
  GPIO_InitStruct.Pin = USB_RST_Pin;
  GPIO_InitStruct.Mode = GPIO_MODE_OUTPUT_PP;
  GPIO_InitStruct.Pull = GPIO_NOPULL;
  GPIO_InitStruct.Speed = GPIO_SPEED_FREQ_LOW;
  HAL_GPIO_Init(USB_RST_GPIO_Port, &GPIO_InitStruct);

  /*Configure GPIO pins : FPGA_SPI_CS_Pin DA_CS_Pin FRAM_CS_Pin */
  GPIO_InitStruct.Pin = FPGA_SPI_CS_Pin | DA_CS_Pin | FRAM_CS_Pin;
  GPIO_InitStruct.Mode = GPIO_MODE_OUTPUT_PP;
  GPIO_InitStruct.Pull = GPIO_NOPULL;
  GPIO_InitStruct.Speed = GPIO_SPEED_FREQ_VERY_HIGH;
  HAL_GPIO_Init(GPIOA, &GPIO_InitStruct);

  /*Configure GPIO pins : AD_RESET_Pin AD_RANGE_Pin AD_OS_Pin */
  GPIO_InitStruct.Pin = AD_RESET_Pin | AD_RANGE_Pin | AD_OS_Pin;
  GPIO_InitStruct.Mode = GPIO_MODE_OUTPUT_PP;
  GPIO_InitStruct.Pull = GPIO_NOPULL;
  GPIO_InitStruct.Speed = GPIO_SPEED_FREQ_LOW;
  HAL_GPIO_Init(GPIOD, &GPIO_InitStruct);

  /*Configure GPIO pin : PC6 */
  GPIO_InitStruct.Pin = GPIO_PIN_6;
  GPIO_InitStruct.Mode = GPIO_MODE_OUTPUT_PP;
  GPIO_InitStruct.Pull = GPIO_NOPULL;
  GPIO_InitStruct.Speed = GPIO_SPEED_FREQ_VERY_HIGH;
  HAL_GPIO_Init(GPIOC, &GPIO_InitStruct);

  /*Configure GPIO pins : DOUT_1_Pin DOUT_2_Pin */
  GPIO_InitStruct.Pin = DOUT_1_Pin | DOUT_2_Pin;
  GPIO_InitStruct.Mode = GPIO_MODE_OUTPUT_PP;
  GPIO_InitStruct.Pull = GPIO_NOPULL;
  GPIO_InitStruct.Speed = GPIO_SPEED_FREQ_LOW;
  HAL_GPIO_Init(GPIOA, &GPIO_InitStruct);

  /*Configure GPIO pin : LED_USB_Pin */
  GPIO_InitStruct.Pin = LED_USB_Pin;
  GPIO_InitStruct.Mode = GPIO_MODE_OUTPUT_PP;
  GPIO_InitStruct.Pull = GPIO_NOPULL;
  GPIO_InitStruct.Speed = GPIO_SPEED_FREQ_LOW;
  HAL_GPIO_Init(LED_USB_GPIO_Port, &GPIO_InitStruct);

}

void Error_Handler(void)
{
  __disable_irq();
  while (1)
  {
  }
}
